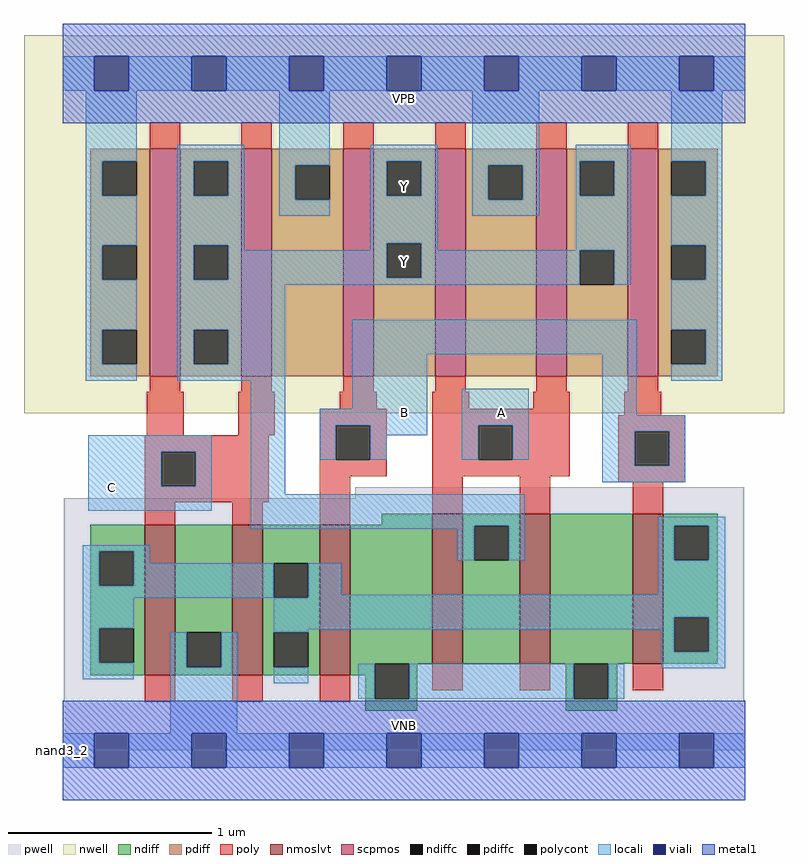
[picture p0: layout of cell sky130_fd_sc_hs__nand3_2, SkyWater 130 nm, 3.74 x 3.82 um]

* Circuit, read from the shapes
.subckt sky130_fd_sc_hs__nand3_2 A B C VGND VNB VPB VPWR Y
XM1 VGND C n1 VNB sky130_fd_pr__nfet_01v8_lvt w=0.74 l=0.15 m=2
XM2 n2 B n1 VNB sky130_fd_pr__nfet_01v8_lvt w=0.74 l=0.15 m=2
XM3 Y A n2 VNB sky130_fd_pr__nfet_01v8_lvt w=0.74 l=0.15 m=2
XM4 Y C VPWR VPB sky130_fd_pr__pfet_01v8 w=1.12 l=0.15 m=2
XM5 Y B VPWR VPB sky130_fd_pr__pfet_01v8 w=1.12 l=0.15 m=2
XM6 VPWR A Y VPB sky130_fd_pr__pfet_01v8 w=1.12 l=0.15 m=2
.ends

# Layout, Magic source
magic
tech sky130A
magscale 1 2
<< nwell >>
rect -38 332 710 704
<< pwell >>
rect 288 248 671 259
rect 1 49 671 248
rect 0 0 672 49
<< scpmos >>
rect 86 368 116 592
rect 176 368 206 592
rect 276 368 306 592
rect 367 368 397 592
rect 466 368 496 592
rect 556 368 586 592
<< nmoslvt >>
rect 81 74 111 222
rect 167 74 197 222
rect 253 74 283 222
rect 364 85 394 233
rect 450 85 480 233
rect 561 85 591 233
<< ndiff >>
rect 314 222 364 233
rect 27 196 81 222
rect 27 162 36 196
rect 70 162 81 196
rect 27 120 81 162
rect 27 86 36 120
rect 70 86 81 120
rect 27 74 81 86
rect 111 116 167 222
rect 111 82 122 116
rect 156 82 167 116
rect 111 74 167 82
rect 197 184 253 222
rect 197 150 208 184
rect 242 150 253 184
rect 197 116 253 150
rect 197 82 208 116
rect 242 82 253 116
rect 197 74 253 82
rect 283 85 364 222
rect 394 221 450 233
rect 394 187 405 221
rect 439 187 450 221
rect 394 85 450 187
rect 480 85 561 233
rect 591 221 645 233
rect 591 187 602 221
rect 636 187 645 221
rect 591 131 645 187
rect 591 97 602 131
rect 636 97 645 131
rect 591 85 645 97
rect 283 74 307 85
rect 298 51 307 74
rect 341 51 349 85
rect 298 39 349 51
rect 495 51 503 85
rect 537 51 546 85
rect 495 39 546 51
<< pdiff >>
rect 27 580 86 592
rect 27 546 39 580
rect 73 546 86 580
rect 27 497 86 546
rect 27 463 39 497
rect 73 463 86 497
rect 27 414 86 463
rect 27 380 39 414
rect 73 380 86 414
rect 27 368 86 380
rect 116 580 176 592
rect 116 546 129 580
rect 163 546 176 580
rect 116 497 176 546
rect 116 463 129 497
rect 163 463 176 497
rect 116 414 176 463
rect 116 380 129 414
rect 163 380 176 414
rect 116 368 176 380
rect 206 576 276 592
rect 206 542 229 576
rect 263 542 276 576
rect 206 368 276 542
rect 306 580 367 592
rect 306 546 319 580
rect 353 546 367 580
rect 306 499 367 546
rect 306 465 319 499
rect 353 465 367 499
rect 306 368 367 465
rect 397 576 466 592
rect 397 542 419 576
rect 453 542 466 576
rect 397 368 466 542
rect 496 580 556 592
rect 496 546 509 580
rect 543 546 556 580
rect 496 492 556 546
rect 496 458 509 492
rect 543 458 556 492
rect 496 368 556 458
rect 586 580 645 592
rect 586 546 599 580
rect 633 546 645 580
rect 586 497 645 546
rect 586 463 599 497
rect 633 463 645 497
rect 586 414 645 463
rect 586 380 599 414
rect 633 380 645 414
rect 586 368 645 380
<< ndiffc >>
rect 36 162 70 196
rect 36 86 70 120
rect 122 82 156 116
rect 208 150 242 184
rect 208 82 242 116
rect 405 187 439 221
rect 602 187 636 221
rect 602 97 636 131
rect 307 51 341 85
rect 503 51 537 85
<< pdiffc >>
rect 39 546 73 580
rect 39 463 73 497
rect 39 380 73 414
rect 129 546 163 580
rect 129 463 163 497
rect 129 380 163 414
rect 229 542 263 576
rect 319 546 353 580
rect 319 465 353 499
rect 419 542 453 576
rect 509 546 543 580
rect 509 458 543 492
rect 599 546 633 580
rect 599 463 633 497
rect 599 380 633 414
<< poly >>
rect 86 592 116 618
rect 176 592 206 618
rect 276 592 306 618
rect 367 592 397 618
rect 466 592 496 618
rect 556 592 586 618
rect 86 353 116 368
rect 176 353 206 368
rect 276 353 306 368
rect 367 353 397 368
rect 466 353 496 368
rect 556 353 586 368
rect 83 310 119 353
rect 173 310 209 353
rect 273 336 309 353
rect 364 336 400 353
rect 463 336 499 353
rect 253 320 319 336
rect 81 294 203 310
rect 81 260 97 294
rect 131 260 203 294
rect 81 244 203 260
rect 253 286 269 320
rect 303 286 319 320
rect 253 270 319 286
rect 364 320 499 336
rect 553 330 589 353
rect 364 286 409 320
rect 443 286 499 320
rect 364 270 499 286
rect 547 314 613 330
rect 547 280 563 314
rect 597 280 613 314
rect 81 222 111 244
rect 167 222 197 244
rect 253 222 283 270
rect 364 233 394 270
rect 450 233 480 270
rect 547 264 613 280
rect 561 233 591 264
rect 81 48 111 74
rect 167 48 197 74
rect 253 48 283 74
rect 364 59 394 85
rect 450 59 480 85
rect 561 59 591 85
<< polycont >>
rect 97 260 131 294
rect 269 286 303 320
rect 409 286 443 320
rect 563 280 597 314
<< locali >>
rect 0 649 31 683
rect 65 649 127 683
rect 161 649 223 683
rect 257 649 319 683
rect 353 649 415 683
rect 449 649 511 683
rect 545 649 607 683
rect 641 649 672 683
rect 23 580 73 649
rect 23 546 39 580
rect 23 497 73 546
rect 23 463 39 497
rect 23 414 73 463
rect 23 380 39 414
rect 23 364 73 380
rect 113 580 179 596
rect 113 546 129 580
rect 163 546 179 580
rect 113 497 179 546
rect 213 576 263 649
rect 213 542 229 576
rect 213 526 263 542
rect 303 580 369 596
rect 303 546 319 580
rect 353 546 369 580
rect 113 463 129 497
rect 163 492 179 497
rect 303 499 369 546
rect 403 576 469 649
rect 403 542 419 576
rect 453 542 469 576
rect 403 526 469 542
rect 505 580 559 596
rect 505 546 509 580
rect 543 546 559 580
rect 303 492 319 499
rect 163 465 319 492
rect 353 492 369 499
rect 505 492 559 546
rect 353 465 509 492
rect 163 463 509 465
rect 113 458 509 463
rect 543 458 559 492
rect 599 580 649 649
rect 633 546 649 580
rect 599 497 649 546
rect 633 463 649 497
rect 113 414 219 458
rect 113 380 129 414
rect 163 380 219 414
rect 113 364 219 380
rect 25 294 147 310
rect 25 260 97 294
rect 131 260 147 294
rect 25 236 147 260
rect 185 252 219 364
rect 285 390 565 424
rect 285 336 359 390
rect 253 320 359 336
rect 253 286 269 320
rect 303 310 359 320
rect 393 320 459 356
rect 303 286 319 310
rect 393 286 409 320
rect 443 286 459 320
rect 531 330 565 390
rect 599 414 649 463
rect 633 380 649 414
rect 599 364 649 380
rect 531 314 613 330
rect 531 280 563 314
rect 597 280 613 314
rect 531 264 613 280
rect 185 221 455 252
rect 185 218 405 221
rect 20 196 86 202
rect 20 162 36 196
rect 70 184 86 196
rect 389 187 405 218
rect 439 187 455 221
rect 586 221 652 230
rect 586 187 602 221
rect 636 187 652 221
rect 70 162 208 184
rect 20 150 208 162
rect 242 153 274 184
rect 586 153 652 187
rect 242 150 652 153
rect 20 120 70 150
rect 20 86 36 120
rect 208 131 652 150
rect 208 119 602 131
rect 208 116 242 119
rect 20 70 70 86
rect 106 82 122 116
rect 156 82 172 116
rect 106 17 172 82
rect 589 97 602 119
rect 636 97 652 131
rect 208 66 242 82
rect 291 51 307 85
rect 341 51 503 85
rect 537 51 553 85
rect 589 81 652 97
rect 0 -17 31 17
rect 65 -17 127 17
rect 161 -17 223 17
rect 257 -17 319 17
rect 353 -17 415 17
rect 449 -17 511 17
rect 545 -17 607 17
rect 641 -17 672 17
<< viali >>
rect 31 649 65 683
rect 127 649 161 683
rect 223 649 257 683
rect 319 649 353 683
rect 415 649 449 683
rect 511 649 545 683
rect 607 649 641 683
rect 31 -17 65 17
rect 127 -17 161 17
rect 223 -17 257 17
rect 319 -17 353 17
rect 415 -17 449 17
rect 511 -17 545 17
rect 607 -17 641 17
<< metal1 >>
rect 0 683 672 715
rect 0 649 31 683
rect 65 649 127 683
rect 161 649 223 683
rect 257 649 319 683
rect 353 649 415 683
rect 449 649 511 683
rect 545 649 607 683
rect 641 649 672 683
rect 0 617 672 649
rect 0 17 672 49
rect 0 -17 31 17
rect 65 -17 127 17
rect 161 -17 223 17
rect 257 -17 319 17
rect 353 -17 415 17
rect 449 -17 511 17
rect 545 -17 607 17
rect 641 -17 672 17
rect 0 -49 672 -17
<< labels >>
rlabel comment s 0 0 0 0 4 nand3_2
flabel pwell s 0 0 672 49 0 FreeSans 200 0 0 0 VNB
port 5 nsew ground bidirectional
flabel nwell s 0 617 672 666 0 FreeSans 200 0 0 0 VPB
port 6 nsew power bidirectional
flabel metal1 s 0 617 672 666 0 FreeSans 340 0 0 0 VPWR
port 7 nsew power bidirectional
flabel metal1 s 0 0 672 49 0 FreeSans 340 0 0 0 VGND
port 4 nsew ground bidirectional
flabel locali s 319 464 353 498 0 FreeSans 340 0 0 0 Y
port 8 nsew signal output
flabel locali s 319 538 353 572 0 FreeSans 340 0 0 0 Y
port 8 nsew signal output
flabel locali s 31 242 65 276 0 FreeSans 340 0 0 0 C
port 3 nsew signal input
flabel locali s 319 316 353 350 0 FreeSans 340 0 0 0 B
port 2 nsew signal input
flabel locali s 415 316 449 350 0 FreeSans 340 0 0 0 A
port 1 nsew signal input
<< properties >>
string LEFsite unit
string LEFclass CORE
string FIXED_BBOX 0 0 672 666
string GDS_FILE $PDKPATH/libs.ref/sky130_fd_sc_hs/gds/sky130_fd_sc_hs.gds
string LEFsymmetry X Y
string GDS_END 328938
string GDS_START 322310
<< end >>
